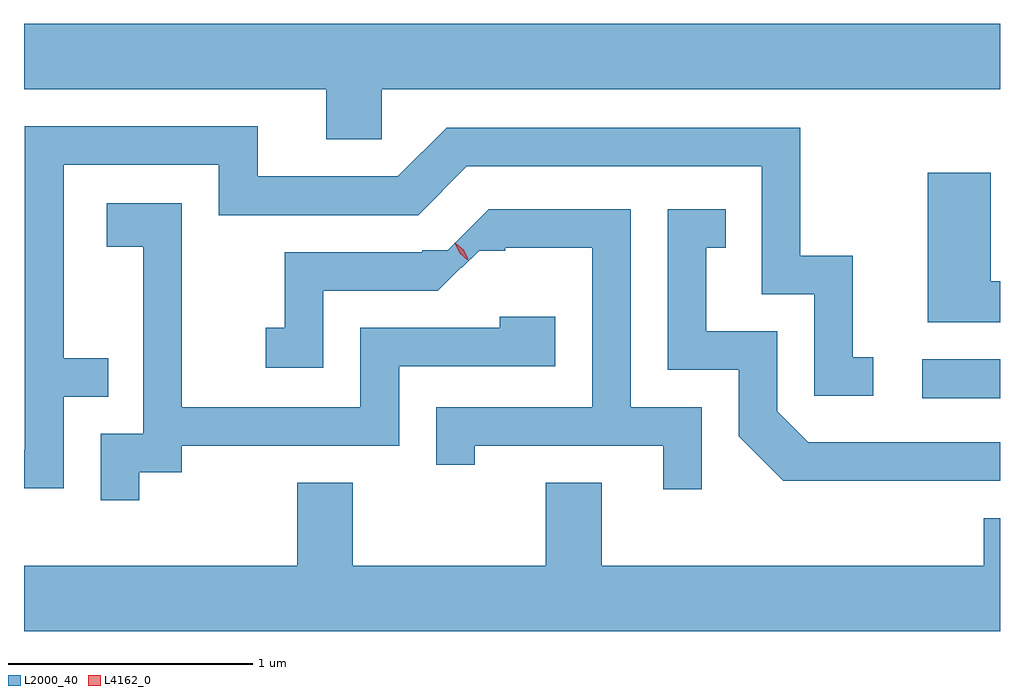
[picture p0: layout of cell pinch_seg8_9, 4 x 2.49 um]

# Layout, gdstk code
import gdstk
lib = gdstk.Library(unit=1e-6, precision=1e-09)
def R(c, l, rs):  # rectangles x0, y0, x1, y1
    for r in rs: c.add(gdstk.rectangle(r[:2], r[2:], *l))
def P(c, l, *ps):  # polygons
    for p in ps: c.add(gdstk.Polygon(p, *l))
L2000_40 = (2000, 40)
L4162_0 = (4162, 0)

pinch_seg8_9 = lib.new_cell('pinch_seg8_9')
R(pinch_seg8_9, L2000_40, [(1071.423,1888.431,1071.742,1888.589)])
P(pinch_seg8_9, L2000_40, [(1069.209,1889.696),(1071.742,1889.696),(1071.742,1889.964),(1067.742,1889.964),(1067.742,1889.696),(1068.981,1889.696),(1068.981,1889.491),(1069.209,1889.491)],
  [(1067.904,1888.436),(1068.088,1888.436),(1068.088,1888.594),(1067.904,1888.594),(1067.904,1889.386),(1068.541,1889.386),(1068.541,1889.181),(1069.357,1889.181),(1069.557,1889.381),(1070.766,1889.381),(1070.766,1888.856),(1070.981,1888.856),(1070.981,1888.441),(1071.223,1888.441),(1071.223,1888.599),(1071.139,1888.599),(1071.139,1889.014),(1070.924,1889.014),(1070.924,1889.539),(1069.474,1889.539),(1069.274,1889.339),(1068.699,1889.339),(1068.699,1889.544),(1067.746,1889.544),(1067.746,1888.219),(1067.742,1888.219),(1067.742,1888.061),(1067.904,1888.061)],
  [(1071.742,1888.909),(1071.704,1888.909),(1071.704,1889.354),(1071.446,1889.354),(1071.446,1888.741),(1071.742,1888.741)],
  [(1068.214,1888.126),(1068.389,1888.126),(1068.389,1888.236),(1069.279,1888.236),(1069.279,1888.561),(1069.919,1888.561),(1069.919,1888.764),(1069.691,1888.764),(1069.691,1888.719),(1069.121,1888.719),(1069.121,1888.394),(1068.389,1888.394),(1068.389,1889.229),(1068.081,1889.229),(1068.081,1889.051),(1068.231,1889.051),(1068.231,1888.284),(1068.056,1888.284),(1068.056,1888.013),(1068.214,1888.013)],
  [(1070.519,1888.394),(1070.229,1888.394),(1070.229,1889.204),(1069.647,1889.204),(1069.479,1889.036),(1069.375,1889.036),(1069.375,1889.029),(1068.811,1889.029),(1068.811,1888.719),(1068.733,1888.719),(1068.733,1888.556),(1068.969,1888.556),(1068.969,1888.871),(1069.437,1888.871),(1069.533,1888.967),(1069.536,1888.964),(1069.607,1889.034),(1069.714,1889.034),(1069.714,1889.046),(1070.071,1889.046),(1070.071,1888.394),(1069.431,1888.394),(1069.431,1888.158),(1069.589,1888.158),(1069.589,1888.236),(1070.361,1888.236),(1070.361,1888.058),(1070.519,1888.058)],
  [(1071.742,1888.249),(1070.957,1888.249),(1070.829,1888.377),(1070.829,1888.704),(1070.539,1888.704),(1070.539,1889.046),(1070.618,1889.046),(1070.618,1889.204),(1070.381,1889.204),(1070.381,1888.546),(1070.671,1888.546),(1070.671,1888.274),(1070.854,1888.091),(1071.742,1888.091)],
  [(1071.742,1887.939),(1071.676,1887.939),(1071.676,1887.744),(1070.109,1887.744),(1070.109,1888.084),(1069.881,1888.084),(1069.881,1887.744),(1069.089,1887.744),(1069.089,1888.084),(1068.861,1888.084),(1068.861,1887.744),(1067.742,1887.744),(1067.742,1887.476),(1071.742,1887.476)])
P(pinch_seg8_9, L4162_0, [(1069.562,1888.994),(1069.527,1889.024),(1069.508,1889.066),(1069.508,1889.067),(1069.509,1889.067),(1069.543,1889.036),(1069.562,1888.994),(1069.562,1888.994)],
  [(1069.562,1889.001),(1069.53,1889.026),(1069.513,1889.062),(1069.513,1889.063),(1069.514,1889.063),(1069.545,1889.038),(1069.563,1889.002),(1069.563,1889.001)])

lib.write_gds('pinch_seg8_9.gds')
